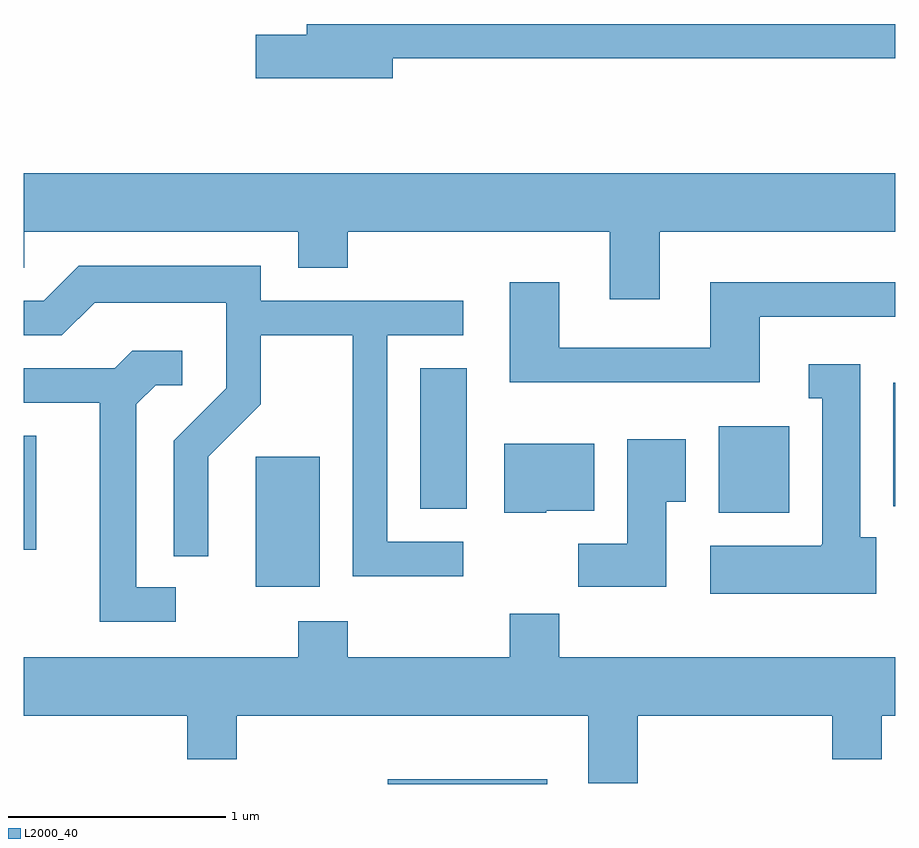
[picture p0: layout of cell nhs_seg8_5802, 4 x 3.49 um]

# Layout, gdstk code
import gdstk
lib = gdstk.Library(unit=1e-6, precision=1e-09)
def R(c, l, rs):  # rectangles x0, y0, x1, y1
    for r in rs: c.add(gdstk.rectangle(r[:2], r[2:], *l))
def P(c, l, *ps):  # polygons
    for p in ps: c.add(gdstk.Polygon(p, *l))
L2000_40 = (2000, 40)

nhs_seg8_5802 = lib.new_cell('nhs_seg8_5802')
R(nhs_seg8_5802, L2000_40, [(361.281,1818.342,362.014,1818.364), (360.676,1819.246,360.969,1819.844), (359.611,1819.416,359.669,1819.939), (362.801,1819.586,363.124,1819.984), (361.431,1819.606,361.644,1820.249), (363.601,1819.616,363.611,1820.184)])
P(nhs_seg8_5802, L2000_40, [(361.304,1821.671),(363.611,1821.671),(363.611,1821.829),(360.911,1821.829),(360.911,1821.779),(360.676,1821.779),(360.676,1821.581),(361.304,1821.581)],
  [(362.529,1820.876),(363.611,1820.876),(363.611,1821.144),(359.611,1821.144),(359.611,1820.711),(359.614,1820.711),(359.614,1820.876),(360.871,1820.876),(360.871,1820.711),(361.099,1820.711),(361.099,1820.876),(362.301,1820.876),(362.301,1820.566),(362.529,1820.566)],
  [(361.628,1819.454),(361.279,1819.454),(361.279,1820.401),(361.628,1820.401),(361.628,1820.559),(360.699,1820.559),(360.699,1820.719),(359.864,1820.719),(359.704,1820.559),(359.611,1820.559),(359.611,1820.401),(359.787,1820.401),(359.937,1820.551),(360.541,1820.551),(360.541,1820.157),(360.301,1819.917),(360.301,1819.388),(360.459,1819.388),(360.459,1819.844),(360.699,1820.084),(360.699,1820.401),(361.121,1820.401),(361.121,1819.296),(361.628,1819.296)],
  [(362.989,1820.486),(363.611,1820.486),(363.611,1820.644),(362.761,1820.644),(362.761,1820.344),(362.069,1820.344),(362.069,1820.644),(361.841,1820.644),(361.841,1820.186),(362.989,1820.186)],
  [(360.308,1819.244),(360.129,1819.244),(360.129,1820.084),(360.217,1820.171),(360.338,1820.171),(360.338,1820.329),(360.109,1820.329),(360.029,1820.249),(359.611,1820.249),(359.611,1820.091),(359.961,1820.091),(359.961,1819.086),(360.308,1819.086)],
  [(363.524,1819.474),(363.449,1819.474),(363.449,1820.269),(363.213,1820.269),(363.213,1820.111),(363.276,1820.111),(363.276,1819.44),(363.27,1819.44),(363.27,1819.434),(362.761,1819.434),(362.761,1819.216),(363.524,1819.216)],
  [(362.559,1819.636),(362.649,1819.636),(362.649,1819.924),(362.381,1819.924),(362.381,1819.444),(362.156,1819.444),(362.156,1819.246),(362.559,1819.246)],
  [(362.01,1819.596),(362.229,1819.596),(362.229,1819.904),(361.816,1819.904),(361.816,1819.586),(362.01,1819.586)],
  [(362.429,1818.656),(363.321,1818.656),(363.321,1818.456),(363.549,1818.456),(363.549,1818.656),(363.611,1818.656),(363.611,1818.924),(362.069,1818.924),(362.069,1819.124),(361.841,1819.124),(361.841,1818.924),(361.099,1818.924),(361.099,1819.089),(360.871,1819.089),(360.871,1818.924),(359.611,1818.924),(359.611,1818.656),(360.361,1818.656),(360.361,1818.456),(360.589,1818.456),(360.589,1818.656),(362.201,1818.656),(362.201,1818.346),(362.429,1818.346)])

lib.write_gds('nhs_seg8_5802.gds')
